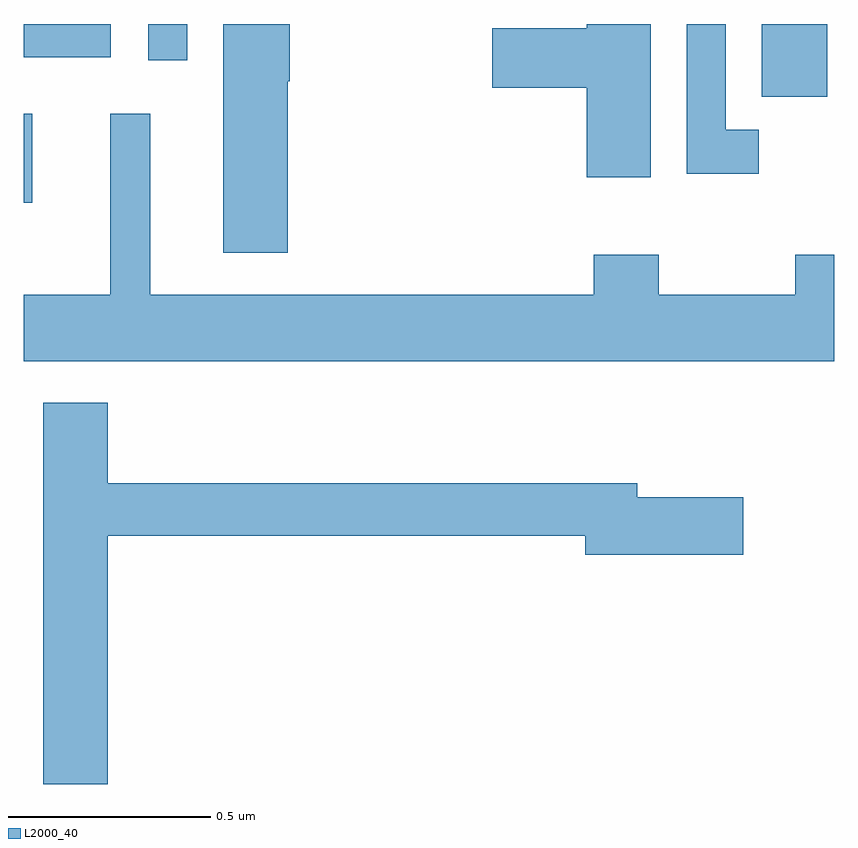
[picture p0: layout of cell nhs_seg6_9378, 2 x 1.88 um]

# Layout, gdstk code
import gdstk
lib = gdstk.Library(unit=1e-6, precision=1e-09)
def R(c, l, rs):  # rectangles x0, y0, x1, y1
    for r in rs: c.add(gdstk.rectangle(r[:2], r[2:], *l))
def P(c, l, *ps):  # polygons
    for p in ps: c.add(gdstk.Polygon(p, *l))
L2000_40 = (2000, 40)

nhs_seg6_9378 = lib.new_cell('nhs_seg6_9378')
R(nhs_seg6_9378, L2000_40, [(233,949.059,233.021,949.279), (234.821,949.32,234.982,949.5), (233.307,949.41,233.403,949.5), (233,949.418,233.215,949.5)])
P(nhs_seg6_9378, L2000_40, [(233.651,949.359),(233.656,949.359),(233.656,949.5),(233.492,949.5),(233.492,948.936),(233.651,948.936)],
  [(234.547,949.5),(234.389,949.5),(234.389,949.49),(234.156,949.49),(234.156,949.343),(234.389,949.343),(234.389,949.122),(234.547,949.122)],
  [(234.814,949.239),(234.732,949.239),(234.732,949.5),(234.636,949.5),(234.636,949.131),(234.814,949.131)],
  [(235,948.931),(234.904,948.931),(234.904,948.832),(234.567,948.832),(234.567,948.931),(234.407,948.931),(234.407,948.832),(233.312,948.832),(233.312,949.279),(233.213,949.279),(233.213,948.832),(233,948.832),(233,948.668),(235,948.668)],
  [(233.207,948.238),(234.386,948.238),(234.386,948.191),(234.775,948.191),(234.775,948.333),(234.514,948.333),(234.514,948.367),(233.207,948.367),(233.207,948.565),(233.048,948.565),(233.048,947.625),(233.207,947.625)])

lib.write_gds('nhs_seg6_9378.gds')
